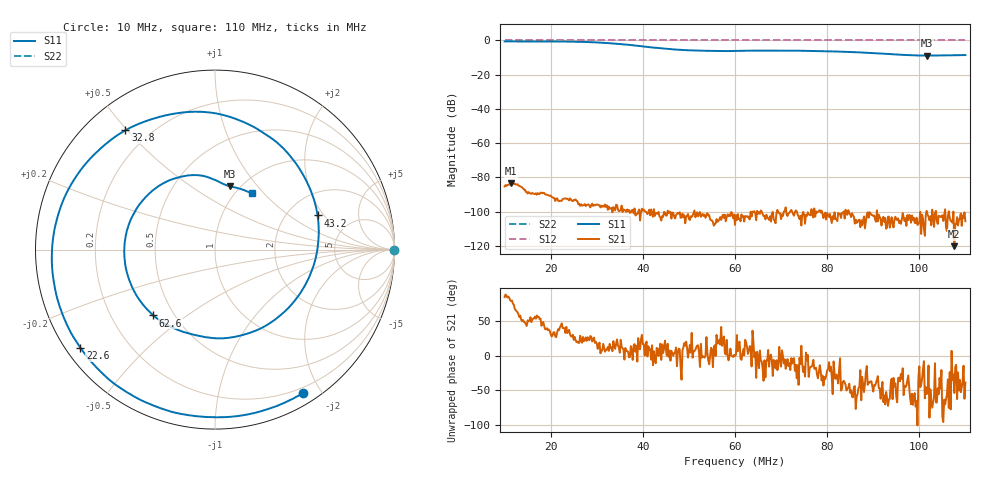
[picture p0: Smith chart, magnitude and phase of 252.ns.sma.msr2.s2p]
! Anritsu VNA Master:  Model: MS2036C/10/77
! SN:  1601066
! /card0/usr/ns.msr2.s2p
! Existing Calibration Information:
! TYPE:  Current Settings,  Active Cal Settings
! TIME:  12/21/2017 05:17:33 PM,  12/21/2017 05:13:10 PM
! INTERNAL TEMP:  39.8 C,  40.0 C
! # POINTS:  501,  501
! START FREQ:  10.000 MHz,  10.000 MHz
! STOP FREQ:  110.000 MHz,  110.000 MHz
! SOURCE POWER:  High,  High
! IFBW:  100 Hz,  100 Hz
! AVG FACTOR:  1 ,  1
! REF PLANE 1:  0 mm,  0 mm
! REF PLANE 2:  0 mm,  0 mm
! CAL TYPE:  Full S11,  Full S11
! CAL METHOD:  SOLT,  SOLT
! CAL LINE TYPE:  Coax,  Coax
! DUT PORT 1:  K-Conn(F),  K-Conn(F)
! DUT PORT 2:  K-Conn(F),  K-Conn(F)
! CAL STATUS:  OK: Accuracy High,  --
# GHZ S DB R 50.0
! FREQ.GHZ  S11DB  S11A  S21DB  S21A  S12DB  S12A  S22DB  S22A
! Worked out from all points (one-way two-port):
!   501 points, 10 MHz to 110 MHz, reference 50 ohm
!   highest |S21| = -83.31 dB at 11.4 MHz (marker M1); lowest = -120.1 dB at 107.6 MHz (marker M2)
!   lowest |S11| = -8.8 dB at 101.6 MHz (marker M3), VSWR 2.13, Z = 45 + j36.4 ohm
!   |S11| at or under -10 dB: nowhere
!   |S22| runs from 0.0 to 0.0 dB; largest |S21 - S12| = 1
!   S11 on the Smith chart (normalised r, x): 10 MHz: 0.14, -1.77; 22.6 MHz: 0.04, -0.33; 32.8 MHz: 0.12, +0.49; 43.2 MHz: 2.90, +1.73; 62.6 MHz: 0.39, -0.38; 110 MHz: 1.18, +0.86
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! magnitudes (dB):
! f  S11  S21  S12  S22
! 10 MHz  -0.6  -85.3  0.0  0.0
! 11.4 MHz  -0.6  -83.3  0.0  0.0
! 22.6 MHz  -0.6  -92.6  0.0  0.0
! 26.8 MHz  -0.8  -96.4  0.0  0.0
! 29.6 MHz  -1.1  -96.3  0.0  0.0
! 32.8 MHz  -1.6  -98.3  0.0  0.0
! 36.4 MHz  -2.4  -100.1  0.0  0.0
! 43.2 MHz  -4.4  -101.3  0.0  0.0
! 43.4 MHz  -4.5  -100.2  0.0  0.0
! 46.8 MHz  -5.3  -102.9  0.0  0.0
! 50.2 MHz  -5.8  -104.8  0.0  0.0
! 56.8 MHz  -6.2  -103.2  0.0  0.0
! 60 MHz  -6.1  -107.7  0.0  0.0
! 62.6 MHz  -6.0  -103.0  0.0  0.0
! 69.4 MHz  -5.9  -100.6  0.0  0.0
! 76.8 MHz  -6.1  -102.0  0.0  0.0
! 85 MHz  -6.7  -101.6  0.0  0.0
! 93.4 MHz  -7.9  -102.9  0.0  0.0
! 98 MHz  -8.6  -102.4  0.0  0.0
! 101.6 MHz  -8.8  -99.5  0.0  0.0
! 107.6 MHz  -8.7  -120.1  0.0  0.0
! 110 MHz  -8.5  -105.6  0.0  0.0
